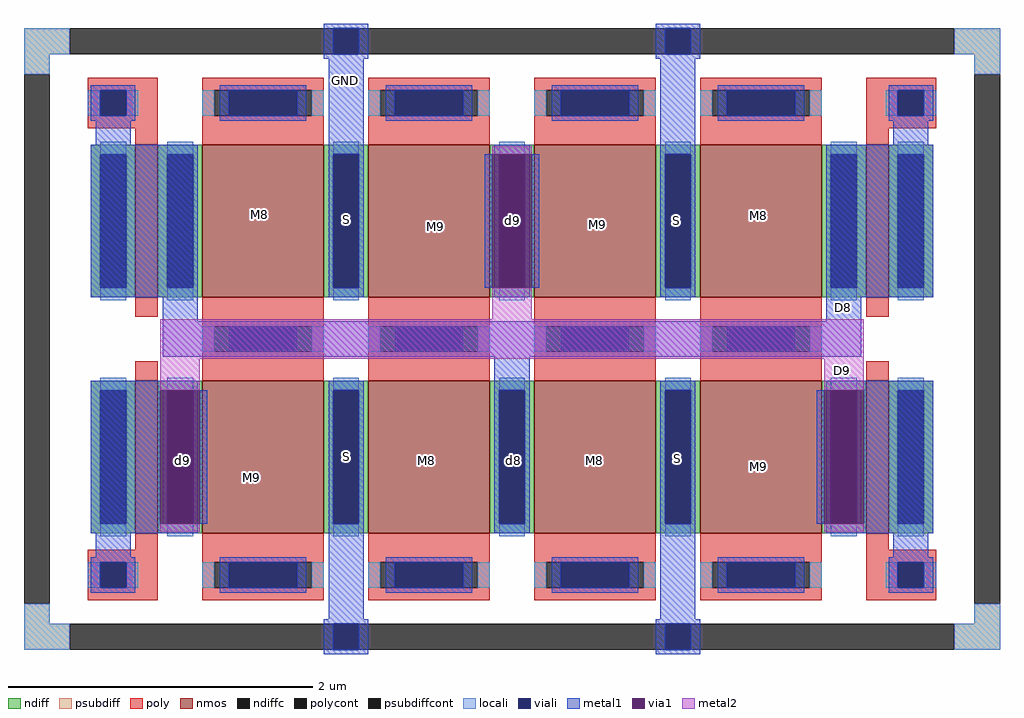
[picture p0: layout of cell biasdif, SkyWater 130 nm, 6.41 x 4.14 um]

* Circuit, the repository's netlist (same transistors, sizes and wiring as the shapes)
** sch_path: /home/jay_mosfet/opamp1stage/magic/biasdif.sch
.subckt biasdif GND D8 D9
*.PININFO GND:B D8:B D9:B
XM8 D8 D8 GND GND sky130_fd_pr__nfet_01v8 L=0.8 W=1 nf=1 m=4
XM9 D9 D8 GND GND sky130_fd_pr__nfet_01v8 L=0.8 W=1 nf=1 m=4
XM1 D8 D8 D8 GND sky130_fd_pr__nfet_01v8 L=0.15 W=1 nf=1 m=2
XM2 D9 D9 D9 GND sky130_fd_pr__nfet_01v8 L=0.15 W=1 nf=1 m=2
.ends
.end

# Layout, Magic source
magic
tech sky130A
magscale 1 2
<< psubdiff >>
rect 151 1344 211 1378
rect 1373 1344 1433 1378
rect 151 1318 185 1344
rect 1399 1318 1433 1344
rect 151 596 185 622
rect 1399 596 1433 622
rect 151 562 211 596
rect 1373 562 1433 596
<< psubdiffcont >>
rect 211 1344 1373 1378
rect 151 622 185 1318
rect 1399 622 1433 1318
rect 211 562 1373 596
<< poly >>
rect 235 1297 327 1313
rect 235 1263 251 1297
rect 285 1263 327 1297
rect 235 1247 327 1263
rect 1257 1297 1349 1313
rect 1257 1263 1299 1297
rect 1333 1263 1349 1297
rect 1257 1247 1349 1263
rect 1257 1225 1287 1247
rect 235 677 327 693
rect 235 643 251 677
rect 285 643 327 677
rect 235 627 327 643
rect 1257 677 1349 693
rect 1257 643 1299 677
rect 1333 643 1349 677
rect 1257 627 1349 643
<< polycont >>
rect 251 1263 285 1297
rect 1299 1263 1333 1297
rect 251 643 285 677
rect 1299 643 1333 677
<< locali >>
rect 151 1344 211 1378
rect 1373 1344 1433 1378
rect 151 1318 185 1344
rect 1399 1318 1433 1344
rect 235 1263 251 1297
rect 285 1263 301 1297
rect 1283 1263 1299 1297
rect 1333 1263 1349 1297
rect 235 643 251 677
rect 285 643 301 677
rect 1283 643 1299 677
rect 1333 643 1349 677
rect 151 596 185 622
rect 1399 596 1433 622
rect 151 562 211 596
rect 1373 562 1433 596
<< viali >>
rect 557 1344 591 1378
rect 993 1344 1027 1378
rect 251 1263 285 1297
rect 1299 1263 1333 1297
rect 251 643 285 677
rect 1299 643 1333 677
rect 557 562 591 596
rect 993 562 1027 596
<< metal1 >>
rect 545 1378 603 1384
rect 545 1344 557 1378
rect 591 1344 603 1378
rect 545 1338 603 1344
rect 981 1378 1039 1384
rect 981 1344 993 1378
rect 1027 1344 1039 1378
rect 981 1338 1039 1344
rect 239 1297 297 1303
rect 239 1263 251 1297
rect 285 1263 297 1297
rect 239 1257 297 1263
rect 245 1225 291 1257
rect 551 1225 597 1338
rect 987 1225 1033 1338
rect 1287 1297 1345 1303
rect 1287 1263 1299 1297
rect 1333 1263 1345 1297
rect 1287 1257 1345 1263
rect 1293 1225 1339 1257
rect 239 1025 379 1225
rect 756 1037 766 1213
rect 818 1037 828 1213
rect 333 993 379 1025
rect 1205 1025 1345 1225
rect 1205 993 1251 1025
rect 333 947 1251 993
rect 769 915 815 947
rect 239 903 379 915
rect 1205 903 1345 915
rect 239 727 330 903
rect 382 727 392 903
rect 1192 727 1202 903
rect 1254 727 1345 903
rect 239 715 379 727
rect 1205 715 1345 727
rect 245 683 291 715
rect 239 677 297 683
rect 239 643 251 677
rect 285 643 297 677
rect 239 637 297 643
rect 551 602 597 715
rect 987 602 1033 715
rect 1293 683 1339 715
rect 1287 677 1345 683
rect 1287 643 1299 677
rect 1333 643 1345 677
rect 1287 637 1345 643
rect 545 596 603 602
rect 545 562 557 596
rect 591 562 603 596
rect 545 556 603 562
rect 981 596 1039 602
rect 981 562 993 596
rect 1027 562 1039 596
rect 981 556 1039 562
<< via1 >>
rect 766 1037 818 1213
rect 330 727 382 903
rect 1202 727 1254 903
<< metal2 >>
rect 766 1213 818 1223
rect 766 996 818 1037
rect 330 944 1254 996
rect 330 903 382 944
rect 330 717 382 727
rect 1202 903 1254 944
rect 1202 717 1254 727
use sky130_fd_pr__nfet_01v8_6H9P4D  sky130_fd_pr__nfet_01v8_6H9P4D_0
transform 1 0 1272 0 1 815
box -73 -126 73 126
use sky130_fd_pr__nfet_01v8_6H9P4D  sky130_fd_pr__nfet_01v8_6H9P4D_1
transform 1 0 312 0 1 1125
box -73 -126 73 126
use sky130_fd_pr__nfet_01v8_6H9P4D  sky130_fd_pr__nfet_01v8_6H9P4D_2
transform 1 0 312 0 1 815
box -73 -126 73 126
use sky130_fd_pr__nfet_01v8_6H9P4D  sky130_fd_pr__nfet_01v8_6H9P4D_3
transform 1 0 1272 0 1 1125
box -73 -126 73 126
use sky130_fd_pr__nfet_01v8_YYNGNX  sky130_fd_pr__nfet_01v8_YYNGNX_0
transform 1 0 792 0 1 970
box -465 -343 465 343
<< labels >>
flabel space 460 1134 460 1134 0 FreeSans 160 0 0 0 M8
flabel space 1116 1132 1116 1132 0 FreeSans 160 0 0 0 M8
flabel space 450 788 450 788 0 FreeSans 160 0 0 0 M9
flabel space 1116 802 1116 802 0 FreeSans 160 0 0 0 M9
flabel space 692 1118 692 1118 0 FreeSans 160 0 0 0 M9
flabel space 904 1120 904 1120 0 FreeSans 160 0 0 0 M9
flabel space 680 810 680 810 0 FreeSans 160 0 0 0 M8
flabel space 900 810 900 810 0 FreeSans 160 0 0 0 M8
flabel via1 793 1125 793 1125 0 FreeSans 160 0 0 0 d9
flabel space 794 811 794 811 0 FreeSans 160 0 0 0 d8
flabel via1 359 811 359 811 0 FreeSans 160 0 0 0 d9
flabel space 575 816 575 816 0 FreeSans 160 0 0 0 S
flabel space 575 1127 575 1127 0 FreeSans 160 0 0 0 S
flabel space 1008 1126 1008 1126 0 FreeSans 160 0 0 0 S
flabel space 1010 813 1010 813 0 FreeSans 160 0 0 0 S
flabel metal1 573 1309 573 1309 0 FreeSans 160 0 0 0 GND
port 1 nsew
flabel metal2 1226 928 1226 928 0 FreeSans 160 0 0 0 D9
port 2 nsew
flabel metal1 1228 1011 1228 1011 0 FreeSans 160 0 0 0 D8
port 3 nsew
<< end >>

# cell sky130_fd_pr__nfet_01v8_6H9P4D: kit device sky130_fd_pr__nfet_01v8, w 1 l 0.150 m 1 nf 1 diffcov 100 polycov 100 guard 0 glc 1 grc 1 gtc 1 gbc 1 tbcov 100 rlcov 100 topc 0 botc 0 poverlap 0 doverlap 1 lmin 0.15 wmin 0.42 compatible {sky130_fd_pr__nfet_01v8 sky130_fd_pr__nfet_01v8_lvt sky130_fd_bs_flash__special_sonosfet_star sky130_fd_pr__nfet_g5v0d10v5 sky130_fd_pr__nfet_05v0_nvt sky130_fd_pr__nfet_03v3_nvt} full_metal 1 viasrc 100 viadrn 100 viagate 100 viagb 0 viagr 0 viagl 0 viagt 0

# cell sky130_fd_pr__nfet_01v8_YYNGNX: kit device sky130_fd_pr__nfet_01v8, w 1 l 0.8 m 2 nf 4 diffcov 100 polycov 100 guard 0 glc 1 grc 1 gtc 1 gbc 1 tbcov 100 rlcov 100 topc 1 botc 1 poverlap 1 doverlap 1 lmin 0.15 wmin 0.42 compatible {sky130_fd_pr__nfet_01v8 sky130_fd_pr__nfet_01v8_lvt sky130_fd_bs_flash__special_sonosfet_star sky130_fd_pr__nfet_g5v0d10v5 sky130_fd_pr__nfet_05v0_nvt sky130_fd_pr__nfet_03v3_nvt} full_metal 1 viasrc 100 viadrn 100 viagate 70 viagb 0 viagr 0 viagl 0 viagt 0
